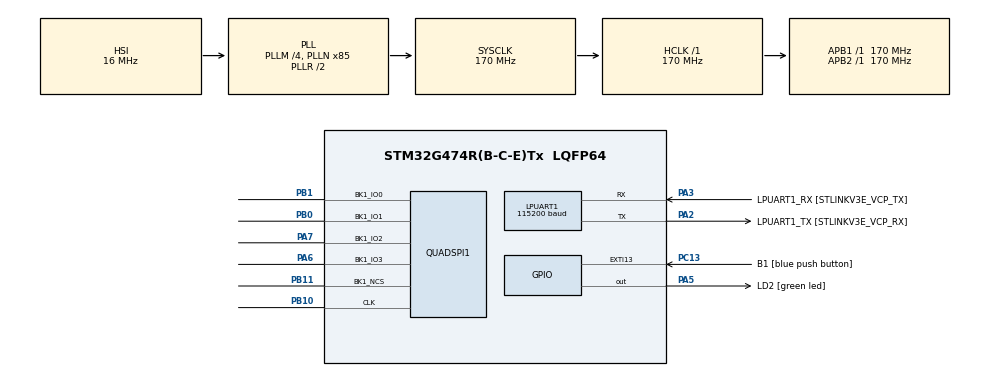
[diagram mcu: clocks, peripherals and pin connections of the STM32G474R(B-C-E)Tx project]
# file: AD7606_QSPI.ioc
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LPUART1.BaudRate=115200
LPUART1.WordLength=UART_WORDLENGTH_8B
Mcu.Family=STM32G4
Mcu.Name=STM32G474R(B-C-E)Tx
Mcu.Package=LQFP64
NVIC.EXTI15_10_IRQn=true\:0\:0\:false\:false\:true\:true\:true
NVIC.PriorityGroup=NVIC_PRIORITYGROUP_4
PA13.GPIO_Label=T_SWDIO
PA13.Mode=Serial_Wire
PA13.Signal=SYS_JTMS-SWDIO
PA14.GPIO_Label=T_SWCLK
PA14.Mode=Serial_Wire
PA14.Signal=SYS_JTCK-SWCLK
PA2.GPIO_Label=LPUART1_TX [STLINKV3E_VCP_RX]
PA2.Mode=Asynchronous
PA2.Signal=LPUART1_TX
PA3.GPIO_Label=LPUART1_RX [STLINKV3E_VCP_TX]
PA3.Mode=Asynchronous
PA3.Signal=LPUART1_RX
PA5.GPIO_Label=LD2 [green led]
PA5.Signal=GPIO_Output
PA6.GPIO_Speed=GPIO_SPEED_FREQ_HIGH
PA6.Mode=Single Bank 1
PA6.Signal=QUADSPI1_BK1_IO3
PA7.GPIO_Speed=GPIO_SPEED_FREQ_HIGH
PA7.Mode=Single Bank 1
PA7.Signal=QUADSPI1_BK1_IO2
PB0.GPIO_Speed=GPIO_SPEED_FREQ_HIGH
PB0.Mode=Single Bank 1
PB0.Signal=QUADSPI1_BK1_IO1
PB1.GPIO_Speed=GPIO_SPEED_FREQ_HIGH
PB1.Mode=Single Bank 1
PB1.Signal=QUADSPI1_BK1_IO0
PB10.GPIO_Speed=GPIO_SPEED_FREQ_HIGH
PB10.Mode=Single Bank 1
PB10.Signal=QUADSPI1_CLK
PB11.GPIO_Speed=GPIO_SPEED_FREQ_HIGH
PB11.Mode=Single Bank 1
PB11.Signal=QUADSPI1_BK1_NCS
PB3.GPIO_Label=T_SWO
PB3.Signal=SYS_JTDO-SWO
PC13.GPIO_Label=B1 [blue push button]
PC13.Signal=GPXTI13
PC14-OSC32_IN.Mode=LSE-External-Oscillator
PC14-OSC32_IN.Signal=RCC_OSC32_IN
PC15-OSC32_OUT.Mode=LSE-External-Oscillator
PC15-OSC32_OUT.Signal=RCC_OSC32_OUT
PF0-OSC_IN.Mode=HSE-External-Oscillator
PF0-OSC_IN.Signal=RCC_OSC_IN
PF1-OSC_OUT.Mode=HSE-External-Oscillator
PF1-OSC_OUT.Signal=RCC_OSC_OUT
ProjectManager.HeapSize=0x200
ProjectManager.StackSize=0x400
ProjectManager.TargetToolchain=STM32CubeIDE
QUADSPI1.ChipSelectHighTime=QSPI_CS_HIGH_TIME_2_CYCLE
QUADSPI1.ClockMode=QSPI_CLOCK_MODE_3
QUADSPI1.ClockPrescaler=170
QUADSPI1.SampleShifting=QSPI_SAMPLE_SHIFTING_HALFCYCLE
RCC.ADC12Freq_Value=170000000
RCC.ADC345Freq_Value=170000000
RCC.AHBFreq_Value=170000000
RCC.APB1Freq_Value=170000000
RCC.APB1TimFreq_Value=170000000
RCC.APB2Freq_Value=170000000
RCC.APB2TimFreq_Value=170000000
RCC.CortexFreq_Value=170000000
RCC.EXTERNAL_CLOCK_VALUE=12288000
RCC.HCLKFreq_Value=170000000
RCC.HSE_VALUE=24000000
RCC.HSI48_VALUE=48000000
RCC.HSI_VALUE=16000000
RCC.PLLM=RCC_PLLM_DIV4
RCC.PLLN=85
RCC.RTCClockSelection=RCC_RTCCLKSOURCE_LSE
RCC.SYSCLKFreq_VALUE=170000000
RCC.SYSCLKSource=RCC_SYSCLKSOURCE_PLLCLK
RCC.USBFreq_Value=170000000
RCC.VCOOutputFreq_Value=340000000
VP_SYS_VS_DBSignals.Mode=DisableDeadBatterySignals
board=NUCLEO-G474RE

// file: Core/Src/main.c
/* USER CODE BEGIN Header */
/**
  ******************************************************************************
  * @file           : main.c
  * @brief          : Main program body
  ******************************************************************************
  * @attention
  *
  * <h2><center>&copy; Copyright (c) 2022 STMicroelectronics.
  * All rights reserved.</center></h2>
  *
  * This software component is licensed by ST under BSD 3-Clause license,
  * the "License"; You may not use this file except in compliance with the
  * License. You may obtain a copy of the License at:
  *                        opensource.org/licenses/BSD-3-Clause
  *
  ******************************************************************************
  */
/* USER CODE END Header */
#include "main.h"
#include "usart.h"
#include "quadspi.h"
#include "gpio.h"

/* USER CODE BEGIN Includes */

#include "AD7606.h"

/* USER CODE END Includes */

/* USER CODE BEGIN PD */

#define size  4          //测试数据大小

/* USER CODE END PD */

/* USER CODE BEGIN PV */

uint8_t data[size] = {0,0,0,0};

/* USER CODE END PV */

void SystemClock_Config(void);

int main(void)
{

  /* MCU Configuration--------------------------------------------------------*/

  /* Reset of all peripherals, Initializes the Flash interface and the Systick. */
  HAL_Init();

  /* Configure the system clock */
  SystemClock_Config();

  /* Initialize all configured peripherals */
  MX_GPIO_Init();
  MX_LPUART1_UART_Init();
  MX_QUADSPI1_Init();
  /* USER CODE BEGIN 2 */

  printf(" AD7606 QuadSPI Test ....\r\n\r\n");

  /* USER CODE END 2 */

  /* Infinite loop */
  while (1)
  {

    /* USER CODE BEGIN 3 */

	  uint8_t state = AD7606_ReadOnce(data,size);

	  if (state == AD7606_HAL_OK)
		  {
		  	  printf("AD7606_HAL_OK\r\n");

		  }
	  else if (state == AD7606_HAL_ERROR)
		  printf("AD7606_HAL_ERROR\r\n");
	  else if (state == AD7606_HAL_BUSY)
		  printf("AD7606_HAL_BUSY\r\n");
	  else if (state == AD7606_HAL_TIMEOUT)
		  printf("AD7606_HAL_TIMEOUT\r\n");
	  else if (state == CMD_ERROR)
		  printf("CMD_ERROR\r\n");

	  HAL_Delay(1000);
  }
  /* USER CODE END 3 */
}

void SystemClock_Config(void)
{
  RCC_OscInitTypeDef RCC_OscInitStruct = {0};
  RCC_ClkInitTypeDef RCC_ClkInitStruct = {0};
  RCC_PeriphCLKInitTypeDef PeriphClkInit = {0};

  /** Configure the main internal regulator output voltage
  */
  HAL_PWREx_ControlVoltageScaling(PWR_REGULATOR_VOLTAGE_SCALE1_BOOST);
  /** Initializes the RCC Oscillators according to the specified parameters
  * in the RCC_OscInitTypeDef structure.
  */
  RCC_OscInitStruct.OscillatorType = RCC_OSCILLATORTYPE_HSI;
  RCC_OscInitStruct.HSIState = RCC_HSI_ON;
  RCC_OscInitStruct.HSICalibrationValue = RCC_HSICALIBRATION_DEFAULT;
  RCC_OscInitStruct.PLL.PLLState = RCC_PLL_ON;
  RCC_OscInitStruct.PLL.PLLSource = RCC_PLLSOURCE_HSI;
  RCC_OscInitStruct.PLL.PLLM = RCC_PLLM_DIV4;
  RCC_OscInitStruct.PLL.PLLN = 85;
  RCC_OscInitStruct.PLL.PLLP = RCC_PLLP_DIV2;
  RCC_OscInitStruct.PLL.PLLQ = RCC_PLLQ_DIV2;
  RCC_OscInitStruct.PLL.PLLR = RCC_PLLR_DIV2;
  if (HAL_RCC_OscConfig(&RCC_OscInitStruct) != HAL_OK)
  {
    Error_Handler();
  }
  /** Initializes the CPU, AHB and APB buses clocks
  */
  RCC_ClkInitStruct.ClockType = RCC_CLOCKTYPE_HCLK|RCC_CLOCKTYPE_SYSCLK
                              |RCC_CLOCKTYPE_PCLK1|RCC_CLOCKTYPE_PCLK2;
  RCC_ClkInitStruct.SYSCLKSource = RCC_SYSCLKSOURCE_PLLCLK;
  RCC_ClkInitStruct.AHBCLKDivider = RCC_SYSCLK_DIV1;
  RCC_ClkInitStruct.APB1CLKDivider = RCC_HCLK_DIV1;
  RCC_ClkInitStruct.APB2CLKDivider = RCC_HCLK_DIV1;

  if (HAL_RCC_ClockConfig(&RCC_ClkInitStruct, FLASH_LATENCY_4) != HAL_OK)
  {
    Error_Handler();
  }
  /** Initializes the peripherals clocks
  */
  PeriphClkInit.PeriphClockSelection = RCC_PERIPHCLK_LPUART1|RCC_PERIPHCLK_QSPI;
  PeriphClkInit.Lpuart1ClockSelection = RCC_LPUART1CLKSOURCE_PCLK1;
  PeriphClkInit.QspiClockSelection = RCC_QSPICLKSOURCE_SYSCLK;

  if (HAL_RCCEx_PeriphCLKConfig(&PeriphClkInit) != HAL_OK)
  {
    Error_Handler();
  }
}

void Error_Handler(void)
{
  __disable_irq();
  while (1)
  {
  }
}

/************************ (C) COPYRIGHT STMicroelectronics *****END OF FILE****/
